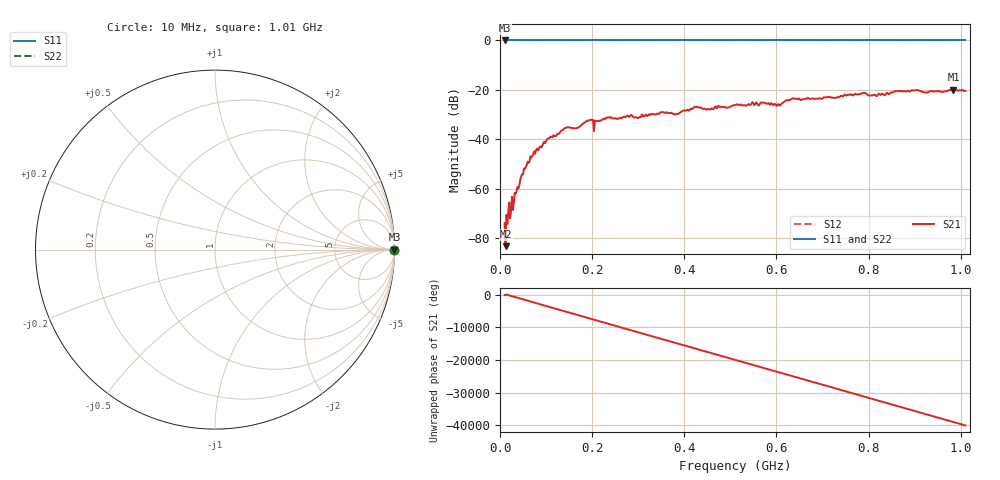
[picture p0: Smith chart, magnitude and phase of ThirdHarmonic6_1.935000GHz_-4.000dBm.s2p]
! 8/16/2025 11:18:50 PM
! C:\ANRITSUVNA\TEMP\TEMP.S2P
! CHANNEL.1
! TR.MEASUREMENT
! RAW.DATA
! RF.CORRECTION.OFF
! AVERAGING.OFF
! IF.BANDWIDTH: 5KHZ
! SWEEPTYPE:  FREQ.SWEEP(Linear)
! Reference Plane Port Info
! PORT:  PORT1  PORT2
! DISTANCE:  0  m  0  m
! TIME:  0  s  0  s
! PHASE.OFFSET:  0  deg.  0  deg.
! LOSS:  0  dB  0  dB
! REF.LOSS:  0  dB  0  dB
! REF.FREQ:  0  Hz  0  Hz
! Power Info
! POWER:  -20  dBm  -20  dBm
! EFF.POWER:  -20  dBm  -20  dBm
! SOURCE.ATTEN:  0  dB  0  dB
! TEST.ATTEN:  0  dB  0  dB
# GHZ S RI R 50.0
! FREQ.GHZ  S11RE  S11IM  S21RE  S21IM  S12RE  S12IM  S22RE  S22IM
!; PortSelection: Port_12
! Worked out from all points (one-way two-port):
!   501 points, 10 MHz to 1.01 GHz, reference 50 ohm
!   highest |S21| = -19.86 dB at 984 MHz (marker M1); lowest = -83.2 dB at 12 MHz (marker M2)
!   lowest |S11| = 0.0 dB at 10 MHz (marker M3)
!   |S11| at or under -10 dB: nowhere
!   |S22| runs from 0.0 to 0.0 dB; largest |S21 - S12| = 1.1
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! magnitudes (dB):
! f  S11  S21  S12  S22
! 10 MHz  0.0  -73.9  0.0  0.0
! 12 MHz  0.0  -83.2  0.0  0.0
! 26 MHz  0.0  -63.3  0.0  0.0
! 48 MHz  0.0  -54.2  0.0  0.0
! 70 MHz  0.0  -46.7  0.0  0.0
! 106 MHz  0.0  -39.6  0.0  0.0
! 142 MHz  0.0  -35.4  0.0  0.0
! 178 MHz  0.0  -33.9  0.0  0.0
! 196 MHz  0.0  -32.2  0.0  0.0
! 208 MHz  0.0  -32.6  0.0  0.0
! 234 MHz  0.0  -31.2  0.0  0.0
! 344 MHz  0.0  -29.8  0.0  0.0
! 382 MHz  0.0  -29.8  0.0  0.0
! 424 MHz  0.0  -26.9  0.0  0.0
! 452 MHz  0.0  -27.7  0.0  0.0
! 510 MHz  0.0  -26.1  0.0  0.0
! 604 MHz  0.0  -25.7  0.0  0.0
! 636 MHz  0.0  -23.4  0.0  0.0
! 678 MHz  0.0  -23.5  0.0  0.0
! 844 MHz  0.0  -21.8  0.0  0.0
! 984 MHz  0.0  -19.9  0.0  0.0
! 1.01 GHz  0.0  -20.4  0.0  0.0
